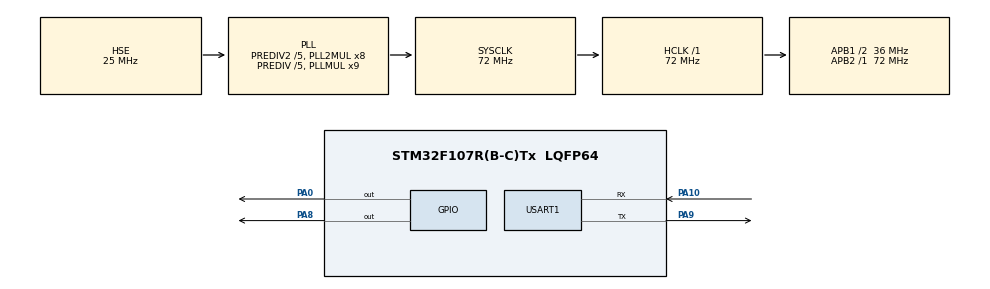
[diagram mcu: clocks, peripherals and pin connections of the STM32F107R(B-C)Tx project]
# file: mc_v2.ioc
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Dma.Request0=USART1_TX
Dma.USART1_TX.0.Direction=DMA_MEMORY_TO_PERIPH
Dma.USART1_TX.0.Instance=DMA1_Channel4
Dma.USART1_TX.0.MemDataAlignment=DMA_MDATAALIGN_BYTE
Dma.USART1_TX.0.MemInc=DMA_MINC_ENABLE
Dma.USART1_TX.0.Mode=DMA_NORMAL
Dma.USART1_TX.0.PeriphDataAlignment=DMA_PDATAALIGN_BYTE
Dma.USART1_TX.0.PeriphInc=DMA_PINC_DISABLE
Dma.USART1_TX.0.Priority=DMA_PRIORITY_MEDIUM
Mcu.Family=STM32F1
Mcu.Name=STM32F107R(B-C)Tx
Mcu.Package=LQFP64
NVIC.DMA1_Channel4_IRQn=true\:0\:0\:false\:false\:true\:false
NVIC.PriorityGroup=NVIC_PRIORITYGROUP_4
NVIC.TIM1_UP_IRQn=true\:0\:0\:false\:false\:true\:true
NVIC.USART1_IRQn=true\:0\:0\:false\:false\:true\:true
PA0-WKUP.GPIO_Speed=GPIO_SPEED_FREQ_HIGH
PA0-WKUP.Signal=GPIO_Output
PA10.Mode=Asynchronous
PA10.Signal=USART1_RX
PA8.GPIO_Speed=GPIO_SPEED_FREQ_MEDIUM
PA8.Signal=GPIO_Output
PA9.Mode=Asynchronous
PA9.Signal=USART1_TX
PD0-OSC_IN.Mode=HSE-External-Oscillator
PD0-OSC_IN.Signal=RCC_OSC_IN
PD1-OSC_OUT.Mode=HSE-External-Oscillator
PD1-OSC_OUT.Signal=RCC_OSC_OUT
ProjectManager.HeapSize=0x2000
ProjectManager.StackSize=0x4000
ProjectManager.TargetToolchain=TrueSTUDIO
RCC.AHBFreq_Value=72000000
RCC.APB1CLKDivider=RCC_HCLK_DIV2
RCC.APB1Freq_Value=36000000
RCC.APB1TimFreq_Value=72000000
RCC.APB2Freq_Value=72000000
RCC.APB2TimFreq_Value=72000000
RCC.HCLKFreq_Value=72000000
RCC.HSEDivPLL=RCC_HSE_PREDIV_DIV5
RCC.HSE_VALUE=25000000
RCC.PLLMUL=RCC_PLL_MUL9
RCC.PLLSourceVirtual=RCC_PLLSOURCE_HSE
RCC.Prediv1Source=RCC_PREDIV1_SOURCE_PLL2
RCC.Prediv2=RCC_HSE_PREDIV2_DIV5
RCC.SYSCLKFreq_VALUE=72000000
RCC.SYSCLKSource=RCC_SYSCLKSOURCE_PLLCLK
RCC.USBFreq_Value=48000000
TIM1.ClockDivision=TIM_CLOCKDIVISION_DIV1
TIM1.Period=65535
TIM1.Prescaler=1
USART1.VirtualMode=VM_ASYNC
VP_CRC_VS_CRC.Mode=CRC_Activate
VP_SYS_VS_ND.Mode=No_Debug
VP_TIM1_VS_ClockSourceINT.Mode=Internal
board=mc_v2

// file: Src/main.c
/**
  ******************************************************************************
  * File Name          : main.c
  * Description        : Main program body
  ******************************************************************************
  ** This notice applies to any and all portions of this file
  * that are not between comment pairs USER CODE BEGIN and
  * USER CODE END. Other portions of this file, whether
  * inserted by the user or by software development tools
  * are owned by their respective copyright owners.
  *
  * COPYRIGHT(c) 2018 STMicroelectronics
  *
  * Redistribution and use in source and binary forms, with or without modification,
  * are permitted provided that the following conditions are met:
  *   1. Redistributions of source code must retain the above copyright notice,
  *      this list of conditions and the following disclaimer.
  *   2. Redistributions in binary form must reproduce the above copyright notice,
  *      this list of conditions and the following disclaimer in the documentation
  *      and/or other materials provided with the distribution.
  *   3. Neither the name of STMicroelectronics nor the names of its contributors
  *      may be used to endorse or promote products derived from this software
  *      without specific prior written permission.
  *
  * THIS SOFTWARE IS PROVIDED BY THE COPYRIGHT HOLDERS AND CONTRIBUTORS "AS IS"
  * AND ANY EXPRESS OR IMPLIED WARRANTIES, INCLUDING, BUT NOT LIMITED TO, THE
  * IMPLIED WARRANTIES OF MERCHANTABILITY AND FITNESS FOR A PARTICULAR PURPOSE ARE
  * DISCLAIMED. IN NO EVENT SHALL THE COPYRIGHT HOLDER OR CONTRIBUTORS BE LIABLE
  * FOR ANY DIRECT, INDIRECT, INCIDENTAL, SPECIAL, EXEMPLARY, OR CONSEQUENTIAL
  * DAMAGES (INCLUDING, BUT NOT LIMITED TO, PROCUREMENT OF SUBSTITUTE GOODS OR
  * SERVICES; LOSS OF USE, DATA, OR PROFITS; OR BUSINESS INTERRUPTION) HOWEVER
  * CAUSED AND ON ANY THEORY OF LIABILITY, WHETHER IN CONTRACT, STRICT LIABILITY,
  * OR TORT (INCLUDING NEGLIGENCE OR OTHERWISE) ARISING IN ANY WAY OUT OF THE USE
  * OF THIS SOFTWARE, EVEN IF ADVISED OF THE POSSIBILITY OF SUCH DAMAGE.
  *
  ******************************************************************************
  */

#include "main.h"
#include "stm32f1xx_hal.h"

/* USER CODE BEGIN Includes */

#include "crc.h"

/* USER CODE END Includes */

CRC_HandleTypeDef hcrc;

TIM_HandleTypeDef htim1;

UART_HandleTypeDef huart1;
DMA_HandleTypeDef hdma_usart1_tx;

/* USER CODE BEGIN PV */
/* Private variables ---------------------------------------------------------*/

uint8_t tx_buf[512];
volatile unsigned char rx_buf[512];
extern volatile unsigned short rx_cnt;

/* USER CODE END PV */

void SystemClock_Config(void);
static void MX_GPIO_Init(void);
static void MX_DMA_Init(void);
static void MX_USART1_UART_Init(void);
static void MX_TIM1_Init(void);
static void MX_CRC_Init(void);

/* USER CODE BEGIN PFP */
/* Private function prototypes -----------------------------------------------*/

/* USER CODE END PFP */

/* USER CODE BEGIN 0 */

void inline ready_to_receive(void) {
	HAL_GPIO_WritePin(GPIOA,GPIO_PIN_8,GPIO_PIN_RESET);
	HAL_UART_Receive_IT(&huart1,(uint8_t*)rx_buf,512);
}

void HAL_UART_TxCpltCallback(UART_HandleTypeDef *huart) {
	ready_to_receive();
}

void HAL_UART_RxCpltCallback(UART_HandleTypeDef *huart) {
	rx_cnt = huart1.RxXferSize;
}

void write_uart(uint16_t size) {
	HAL_GPIO_WritePin(GPIOA, GPIO_PIN_8,GPIO_PIN_SET);
	HAL_UART_Transmit_DMA(&huart1,tx_buf,size);
}

/* USER CODE END 0 */

int main(void)
{

  /* USER CODE BEGIN 1 */
	uint16_t cnt = 0;

  /* USER CODE END 1 */

  /* MCU Configuration----------------------------------------------------------*/

  /* Reset of all peripherals, Initializes the Flash interface and the Systick. */
  HAL_Init();

  /* Configure the system clock */
  SystemClock_Config();

  /* Initialize all configured peripherals */
  MX_GPIO_Init();
  MX_DMA_Init();
  MX_USART1_UART_Init();
  MX_TIM1_Init();
  MX_CRC_Init();

  /* USER CODE BEGIN 2 */

  HAL_TIM_Base_Start_IT(&htim1);
  HAL_UART_Receive_IT(&huart1,(uint8_t*)rx_buf,512);

  /* USER CODE END 2 */

  /* Infinite loop */
  while (1)
  {

  /* USER CODE BEGIN 3 */
	  if(rx_cnt) {
		  if(GetCRC16((uint8_t*)rx_buf,rx_cnt)==0)
		  {
			  for(cnt=0;cnt<rx_cnt;++cnt) tx_buf[cnt]=rx_buf[cnt];
			  write_uart(cnt);
		  }else ready_to_receive();
		  rx_cnt = 0;
	  }
	  //HAL_GPIO_TogglePin(GPIOA,GPIO_PIN_0);
  }
  /* USER CODE END 3 */

}

/** System Clock Configuration
*/
void SystemClock_Config(void)
{

  RCC_OscInitTypeDef RCC_OscInitStruct;
  RCC_ClkInitTypeDef RCC_ClkInitStruct;

    /**Initializes the CPU, AHB and APB busses clocks
    */
  RCC_OscInitStruct.OscillatorType = RCC_OSCILLATORTYPE_HSE;
  RCC_OscInitStruct.HSEState = RCC_HSE_ON;
  RCC_OscInitStruct.HSEPredivValue = RCC_HSE_PREDIV_DIV5;
  RCC_OscInitStruct.HSIState = RCC_HSI_ON;
  RCC_OscInitStruct.Prediv1Source = RCC_PREDIV1_SOURCE_PLL2;
  RCC_OscInitStruct.PLL.PLLState = RCC_PLL_ON;
  RCC_OscInitStruct.PLL.PLLSource = RCC_PLLSOURCE_HSE;
  RCC_OscInitStruct.PLL.PLLMUL = RCC_PLL_MUL9;
  RCC_OscInitStruct.PLL2.PLL2State = RCC_PLL2_ON;
  RCC_OscInitStruct.PLL2.PLL2MUL = RCC_PLL2_MUL8;
  RCC_OscInitStruct.PLL2.HSEPrediv2Value = RCC_HSE_PREDIV2_DIV5;
  if (HAL_RCC_OscConfig(&RCC_OscInitStruct) != HAL_OK)
  {
    _Error_Handler(__FILE__, __LINE__);
  }

    /**Initializes the CPU, AHB and APB busses clocks
    */
  RCC_ClkInitStruct.ClockType = RCC_CLOCKTYPE_HCLK|RCC_CLOCKTYPE_SYSCLK
                              |RCC_CLOCKTYPE_PCLK1|RCC_CLOCKTYPE_PCLK2;
  RCC_ClkInitStruct.SYSCLKSource = RCC_SYSCLKSOURCE_PLLCLK;
  RCC_ClkInitStruct.AHBCLKDivider = RCC_SYSCLK_DIV1;
  RCC_ClkInitStruct.APB1CLKDivider = RCC_HCLK_DIV2;
  RCC_ClkInitStruct.APB2CLKDivider = RCC_HCLK_DIV1;

  if (HAL_RCC_ClockConfig(&RCC_ClkInitStruct, FLASH_LATENCY_2) != HAL_OK)
  {
    _Error_Handler(__FILE__, __LINE__);
  }

    /**Configure the Systick interrupt time
    */
  HAL_SYSTICK_Config(HAL_RCC_GetHCLKFreq()/1000);

    /**Configure the Systick
    */
  HAL_SYSTICK_CLKSourceConfig(SYSTICK_CLKSOURCE_HCLK);

    /**Configure the Systick interrupt time
    */
  __HAL_RCC_PLLI2S_ENABLE();

  /* SysTick_IRQn interrupt configuration */
  HAL_NVIC_SetPriority(SysTick_IRQn, 0, 0);
}

/* CRC init function */
static void MX_CRC_Init(void)
{

  hcrc.Instance = CRC;
  if (HAL_CRC_Init(&hcrc) != HAL_OK)
  {
    _Error_Handler(__FILE__, __LINE__);
  }

}

/* TIM1 init function */
static void MX_TIM1_Init(void)
{

  TIM_ClockConfigTypeDef sClockSourceConfig;
  TIM_MasterConfigTypeDef sMasterConfig;

  htim1.Instance = TIM1;
  htim1.Init.Prescaler = 1;
  htim1.Init.CounterMode = TIM_COUNTERMODE_UP;
  htim1.Init.Period = 65535;
  htim1.Init.ClockDivision = TIM_CLOCKDIVISION_DIV1;
  htim1.Init.RepetitionCounter = 0;
  htim1.Init.AutoReloadPreload = TIM_AUTORELOAD_PRELOAD_DISABLE;
  if (HAL_TIM_Base_Init(&htim1) != HAL_OK)
  {
    _Error_Handler(__FILE__, __LINE__);
  }

  sClockSourceConfig.ClockSource = TIM_CLOCKSOURCE_INTERNAL;
  if (HAL_TIM_ConfigClockSource(&htim1, &sClockSourceConfig) != HAL_OK)
  {
    _Error_Handler(__FILE__, __LINE__);
  }

  sMasterConfig.MasterOutputTrigger = TIM_TRGO_RESET;
  sMasterConfig.MasterSlaveMode = TIM_MASTERSLAVEMODE_DISABLE;
  if (HAL_TIMEx_MasterConfigSynchronization(&htim1, &sMasterConfig) != HAL_OK)
  {
    _Error_Handler(__FILE__, __LINE__);
  }

}

/* USART1 init function */
static void MX_USART1_UART_Init(void)
{

  huart1.Instance = USART1;
  huart1.Init.BaudRate = 115200;
  huart1.Init.WordLength = UART_WORDLENGTH_8B;
  huart1.Init.StopBits = UART_STOPBITS_1;
  huart1.Init.Parity = UART_PARITY_NONE;
  huart1.Init.Mode = UART_MODE_TX_RX;
  huart1.Init.HwFlowCtl = UART_HWCONTROL_NONE;
  huart1.Init.OverSampling = UART_OVERSAMPLING_16;
  if (HAL_UART_Init(&huart1) != HAL_OK)
  {
    _Error_Handler(__FILE__, __LINE__);
  }

}

static void MX_DMA_Init(void)
{
  /* DMA controller clock enable */
  __HAL_RCC_DMA1_CLK_ENABLE();

  /* DMA interrupt init */
  /* DMA1_Channel4_IRQn interrupt configuration */
  HAL_NVIC_SetPriority(DMA1_Channel4_IRQn, 0, 0);
  HAL_NVIC_EnableIRQ(DMA1_Channel4_IRQn);

}

/** Configure pins as
        * Analog
        * Input
        * Output
        * EVENT_OUT
        * EXTI
*/
static void MX_GPIO_Init(void)
{

  GPIO_InitTypeDef GPIO_InitStruct;

  /* GPIO Ports Clock Enable */
  __HAL_RCC_GPIOD_CLK_ENABLE();
  __HAL_RCC_GPIOA_CLK_ENABLE();

  /*Configure GPIO pin Output Level */
  HAL_GPIO_WritePin(GPIOA, GPIO_PIN_0|GPIO_PIN_8, GPIO_PIN_RESET);

  /*Configure GPIO pin : PA0 */
  GPIO_InitStruct.Pin = GPIO_PIN_0;
  GPIO_InitStruct.Mode = GPIO_MODE_OUTPUT_PP;
  GPIO_InitStruct.Speed = GPIO_SPEED_FREQ_HIGH;
  HAL_GPIO_Init(GPIOA, &GPIO_InitStruct);

  /*Configure GPIO pin : PA8 */
  GPIO_InitStruct.Pin = GPIO_PIN_8;
  GPIO_InitStruct.Mode = GPIO_MODE_OUTPUT_PP;
  GPIO_InitStruct.Speed = GPIO_SPEED_FREQ_MEDIUM;
  HAL_GPIO_Init(GPIOA, &GPIO_InitStruct);

}

void _Error_Handler(char * file, int line)
{
  while(1)
  {
  }
}

/************************ (C) COPYRIGHT STMicroelectronics *****END OF FILE****/
